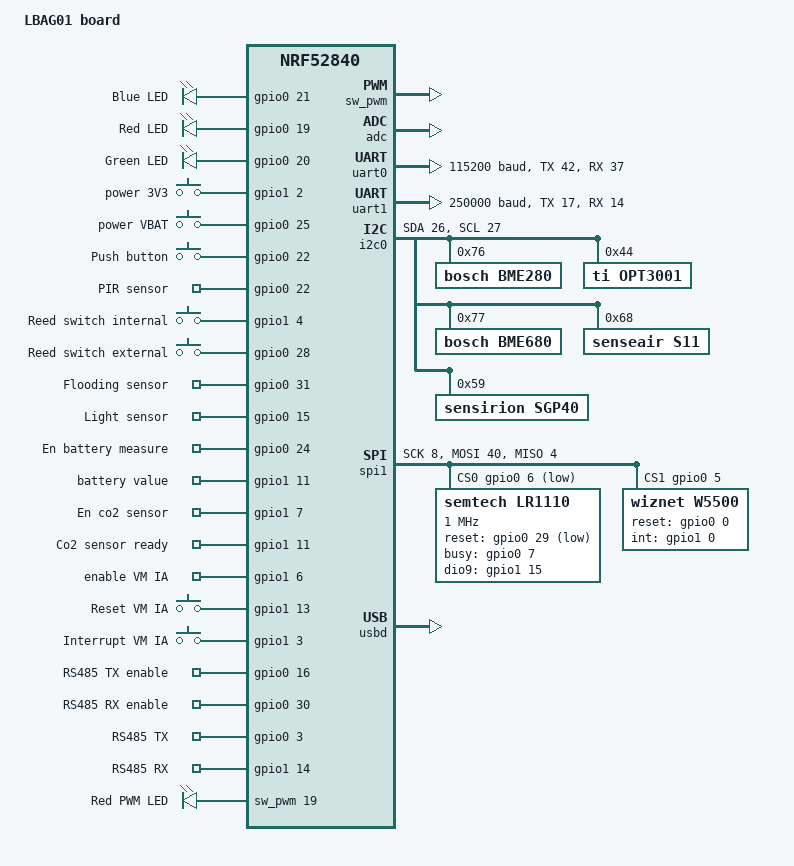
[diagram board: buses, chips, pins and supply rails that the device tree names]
/*
 * Copyright (c) 2022 Wiifor
 *
 * SPDX-License-Identifier: Apache-2.0
 */

/dts-v1/;
#include <nordic/nrf52840_qiaa.dtsi>
#include "dt-bindings/lora/lr1110.h"

/ {
	model = "LBAG01 board";
	compatible = "nordic,pca10056-dk";

	chosen {
		zephyr,console = &uart0;
		zephyr,uart-mcumgr = &uart0;
		zephyr,bt-mon-uart = &uart0;
		zephyr,bt-c2h-uart = &uart0;
		zephyr,sram = &sram0;
		zephyr,flash = &flash0;
		zephyr,code-partition = &slot0_partition;
	};

	/* Use to control leds with the GPIO driver */
	leds {
		compatible = "gpio-leds";
		led1: led_1 {
			gpios = <&gpio0 21 0>;
			label = "Blue LED";
		};
		led2: led_2 {
			gpios = <&gpio0 19 0>;
			label = "Red LED";
		};
		led3: led_3 {
			gpios = <&gpio0 20 0>;
			label = "Green LED";
		};
	};

	power {
		compatible = "gpio-keys";
		power3v3: power_3v3 {
			gpios = <&gpio1 2 0>;
			label = "power 3V3";
		};
		powerVbat: power_Vbat {
			gpios = <&gpio0 25 0>;
			label = "power VBAT";
		};
	};

	buttons {
		compatible = "gpio-keys";
		button1: button_1 {
			gpios = <&gpio0 22 0>;
			label = "Push button";
		};
		pirSensor: pir_sensor {
			gpios = <&gpio0 22 0>;
			label = "PIR sensor";
		};
		reedSwitchInternal: reed_switch_internal {
			gpios = <&gpio1 4 0>;
			label = "Reed switch internal";
		};
		reedSwitchExternal: reed_switch_external {
			gpios = <&gpio0 28 0>;
			label = "Reed switch external";
		};
		floodingSensor: flooding_sensor {
			gpios = <&gpio0 31 0>;
			label = "Flooding sensor";
		};
		lightSensor: light_sensor {
			gpios = <&gpio0 15 0>;
			label = "Light sensor";
		};
	};

	Battery_meas {
		compatible = "gpio-keys";
		enableBattMeas: enable_batt_meas {
			gpios = <&gpio0 24 0>;
			label = "En battery measure";
		};
		battMeasvalue: batt_meas_ready {
			gpios = <&gpio1 11 0>;
			label = "battery value";
		};
	};

	/* Should be included in sunrise driver */
	CO2_sensor {
		compatible = "gpio-keys";
		co2Enable: co2_enable {
			gpios = <&gpio1 7 0>;
			label = "En co2 sensor";
		};
		co2Ready: co2_ready {
			gpios = <&gpio1 11 0>;
			label = "Co2 sensor ready";
		};
	};

	VM_IA {
		compatible = "gpio-keys";
		iaEnable: ia_enable {
			gpios = <&gpio1 6 0>;
			label = "enable VM IA";
		};	
		iaReset: ia_reset {
			gpios = <&gpio1 13 0>;
			label = "Reset VM IA";
		};
		iaInt: int {
			gpios = <&gpio1 3 0>;
			label = "Interrupt VM IA";
		};	
	};

	SENS_GPIO {
		compatible = "gpio-keys";
		sens_gpio1: SENS_GPIO1 {
			gpios = <&gpio0 16 0>;
			label = "RS485 TX enable";
		};
		sens_gpio2: SENS_GPIO2 {
			gpios = <&gpio0 30 0>;
			label = "RS485 RX enable";
		};
		sens_gpio5: SENS_GPIO5 {
			gpios = <&gpio0 3 0>;
			label = "RS485 TX";
		};
		sens_gpio6: SENS_GPIO6 {
			gpios = <&gpio1 14 0>;
			label = "RS485 RX";
		};

	};

	/* Use to control leds with the PWM-LEDS driver */
	pwmleds {
		compatible = "pwm-leds";
		pwm_led0: pwm_led_0 {
			pwms = <&sw_pwm 19>;
			label = "Red PWM LED";
		};
	};

	aliases {
		/* These aliases are provided for compatibility with samples */
		led0 = &led1;
		led1 = &led2;
		led2 = &led3;
		button-1 = &button1;
		// pir-sensor = &pirSensor;
		reed-switch = &reedSwitchInternal; // Change to reedSwitchExternal for external reed switch
		// flooding-sensor = &floodingSensor;
		light-sensor = &lightSensor;
		/* These aliases are provided to improve code readability */
		led-red = &led2;
		led-green = &led3;
		led-blue = &led1;
		red-pwm-led = &pwm_led0;
		lora0 = &lora;
	};
};

/* The RTC is used instead of nordic Timer due to power consumption contrainst.
 * It means there is only 2 PWM channels instead of 3 (with a timer)
 * and the prescaler has to be set to 0
 */
&sw_pwm {
	compatible = "nordic,nrf-sw-pwm";
	status = "okay";
	label = "SW_PWM";
	generator = <&rtc0>;
	channel-count = <2>;
	clock-prescaler = <0>;
	ppi-base = <0>;
	gpiote-base = <0>;
	#pwm-cells = <1>;
};

&adc {
	status = "okay";
};

&gpiote {
	status = "okay";
};

&gpio0 {
	status = "okay";
};

&gpio1 {
	status = "okay";
};

&uart0 {
	compatible = "nordic,nrf-uart";
	current-speed = <115200>;
	status = "okay";
	tx-pin = <42>;
	rx-pin = <37>;
};


&uart1 {
	current-speed = <250000>;
	status = "okay";
	tx-pin = <17>;
	rx-pin = <14>;
};


&i2c0 {
	compatible = "nordic,nrf-twi";
	status = "okay";
	sda-pin = <26>;
	scl-pin = <27>;
	bme280:bme280@76 {
		compatible = "bosch,bme280";
		reg = <0x76>;
		label = "BME280";
	};
	opt3001:opt3001@44 {
		compatible = "ti,opt3001";
		label = "OPT3001";
		reg = <0x44>;
	};
	bme680:bme680@77 {
		compatible = "bosch,bme680";
		reg = <0x77>;
		label = "BME680";
	};
	s11:s11@68 {
		compatible = "senseair,s11";
		reg = <0x68>;
		label = "S11";
	};
	sgp40: sgp40@59 {
		compatible = "sensirion,sgp40";
		reg = <0x59>;
		label = "SGP40";
	};
};

/*
&i2c1 {
	compatible = "nordic,nrf-twi";
	status = "okay";
	sda-pin = <40>;
	scl-pin = <4>;
};
*/

&spi1 {
	compatible = "nordic,nrf-spi";
	status = "okay";
	sck-pin = <8>;
	mosi-pin = <40>;
	miso-pin = <4>;
	cs-gpios = <&gpio0 6 GPIO_ACTIVE_LOW>,
				<&gpio0 5 0>;
	lora: lr1110@0 {
		compatible = "semtech,lr1110";
		reg = <0x0>;
		label = "lr1110";
		reset-gpios = <&gpio0 29 (GPIO_PULL_UP | GPIO_ACTIVE_LOW)>;
		busy-gpios = <&gpio0 7 GPIO_ACTIVE_HIGH>;
		dio9-gpios = <&gpio1 15 GPIO_ACTIVE_HIGH>;
		rf-switch-enable = <(LR1110_SYSTEM_RFSW0_HIGH | LR1110_SYSTEM_RFSW1_HIGH)>;
		rf-switch-tx = <LR1110_SYSTEM_RFSW1_HIGH>;
		rf-switch-rx = <LR1110_SYSTEM_RFSW0_HIGH>;
		spi-max-frequency = <1000000>;
	};
	w5500: w5500@1 {
		compatible = "wiznet,w5500";
		reg = <0x1>;
		label = "w5500";
		reset-gpios = <&gpio0 0 0>;
		int-gpios = <&gpio1 0 12>;
		spi-max-frequency = <0>;
	};
};

&flash0 {

	partitions {
		compatible = "fixed-partitions";
		#address-cells = <1>;
		#size-cells = <1>;

		boot_partition: partition@0 {
			label = "mcuboot";
			reg = <0x000000000 0x0003a000>;
		};
		/*
		 * Overlap "storage_partition"
		 * Mandatory to update file system over the air
		 *
		 * The SMP server stops writing in flash when 
		 * it reaches the end of the partition (here slot0). 
		 * However, we want to transmit Janus (slot0) 
		 * and the file system (storage_partition). 
		 * By enlarging the slot0 partition we simulate a larger
		 * image that would contain Janus and the file system.
		 * Thus, the SMP server can write Janus and 
		 * the file system in flash.
		 */
		slot0_partition: partition@3a000 {
			label = "image-0";
			reg = <0x0003a000 0x000c6000>;
		};
		/*
		 * Phantom partition: DO NOT USE
		 * Only here to allow SMP server flags building
		 * For more details see internal Gitlab project 'aurora' (README.md)
		 */
		slot1_partition: partition@3a001 {
			label = "image-1";
			reg = <0x0003a001 0x00000001>;
		};

		/*
		 * The flash starting at 0x000f8000 and ending at
		 * 0x000fffff is reserved for use by the application.
		 */

		/*
		 * Storage partition will be used by FCB/LittleFS/NVS
		 * if enabled.
		 */
		storage_partition: partition@f8000 {
			label = "storage";
			reg = <0x000f8000 0x00008000>;
		};
	};
};

&usbd {
	compatible = "nordic,nrf-usbd";
	status = "okay";
};
